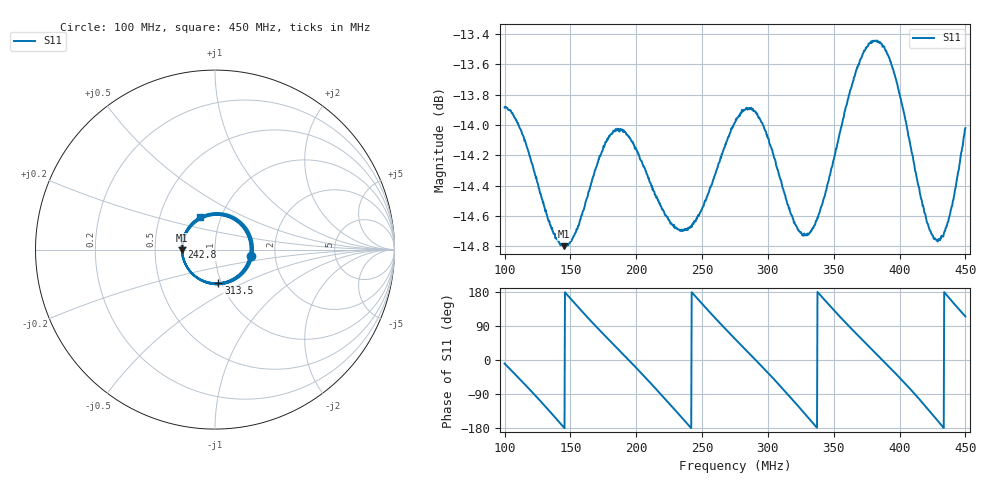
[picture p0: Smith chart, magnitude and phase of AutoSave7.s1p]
!Agilent N9923A: A.05.17
!Date: Sunday, 01 January 2006 12:43:25
!Model: N9923A
!Serial: MY50371189
!CHECKSUM:1520464080
!Correction: S11(ON U)
!S1P File: Measurement: S11:
# Hz S RI R 50
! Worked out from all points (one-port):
!   1001 points, 100 MHz to 450 MHz, reference 50 ohm
!   lowest |S11| = -14.8 dB at 145.2 MHz (marker M1), VSWR 1.44, Z = 34.6 - j0.334 ohm
!   |S11| at or under -10 dB: start of sweep to end of sweep
!   S11 on the Smith chart (normalised r, x): 100 MHz: 1.49, -0.10; 242.8 MHz: 0.69, +0.02; 313.5 MHz: 0.97, -0.38; 450 MHz: 0.80, +0.30
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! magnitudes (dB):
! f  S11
! 100 MHz  -13.9
! 112.6 MHz  -14.0
! 133.9 MHz  -14.6
! 143.8 MHz  -14.8
! 145.2 MHz  -14.8
! 155.3 MHz  -14.7
! 176.3 MHz  -14.1
! 187.5 MHz  -14.0
! 196.6 MHz  -14.1
! 220.4 MHz  -14.6
! 231.2 MHz  -14.7
! 242.8 MHz  -14.7
! 275 MHz  -14.0
! 284.1 MHz  -13.9
! 291.8 MHz  -13.9
! 313.5 MHz  -14.5
! 318.8 MHz  -14.6
! 327.9 MHz  -14.7
! 336.2 MHz  -14.6
! 362.5 MHz  -13.8
! 373.7 MHz  -13.5
! 384.6 MHz  -13.5
! 394.7 MHz  -13.6
! 406.2 MHz  -14.0
! 420.6 MHz  -14.6
! 429 MHz  -14.8
! 438.4 MHz  -14.6
! 450 MHz  -14.0
